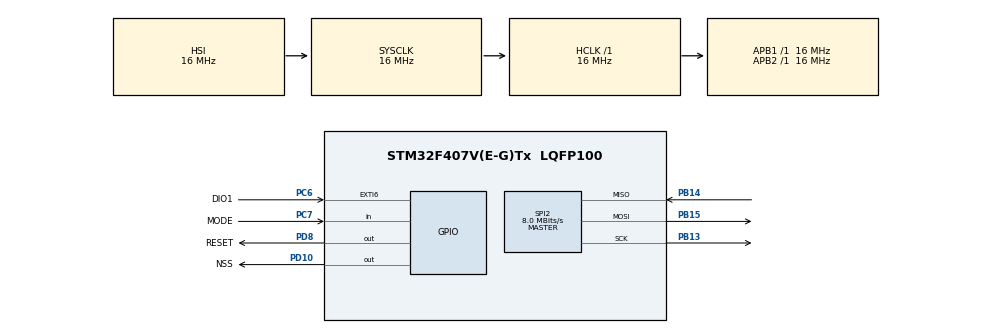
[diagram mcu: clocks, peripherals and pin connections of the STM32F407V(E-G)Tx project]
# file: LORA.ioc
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Mcu.Family=STM32F4
Mcu.Name=STM32F407V(E-G)Tx
Mcu.Package=LQFP100
NVIC.EXTI9_5_IRQn=true\:0\:0\:false\:false\:true\:true\:true\:true
NVIC.PriorityGroup=NVIC_PRIORITYGROUP_4
NVIC.SPI2_IRQn=true\:0\:0\:false\:false\:true\:true\:true\:true
PA13.Mode=Serial_Wire
PA13.Signal=SYS_JTMS-SWDIO
PA14.Mode=Serial_Wire
PA14.Signal=SYS_JTCK-SWCLK
PB13.Mode=Full_Duplex_Master
PB13.Signal=SPI2_SCK
PB14.Mode=Full_Duplex_Master
PB14.Signal=SPI2_MISO
PB15.Mode=Full_Duplex_Master
PB15.Signal=SPI2_MOSI
PC6.GPIO_Label=DIO1
PC6.GPIO_ModeDefaultEXTI=GPIO_MODE_IT_RISING
PC6.Signal=GPXTI6
PC7.GPIO_Label=MODE
PC7.Signal=GPIO_Input
PD10.GPIO_Label=NSS
PD10.Signal=GPIO_Output
PD8.GPIO_Label=RESET
PD8.Signal=GPIO_Output
ProjectManager.HeapSize=0x200
ProjectManager.StackSize=0x400
ProjectManager.TargetToolchain=STM32CubeIDE
RCC.AHBFreq_Value=16000000
RCC.APB1Freq_Value=16000000
RCC.APB2Freq_Value=16000000
RCC.CortexFreq_Value=16000000
RCC.HSE_VALUE=25000000
RCC.HSI_VALUE=16000000
RCC.LSE_VALUE=32768
RCC.SYSCLKFreq_VALUE=16000000
RCC.VCOOutputFreq_Value=192000000
SPI2.CalculateBaudRate=8.0 MBits/s
SPI2.Direction=SPI_DIRECTION_2LINES
SPI2.Mode=SPI_MODE_MASTER
SPI2.VirtualType=VM_MASTER
board=custom

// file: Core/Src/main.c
/* USER CODE BEGIN Header */
/**
  ******************************************************************************
  * @file           : main.c
  * @brief          : Main program body
  ******************************************************************************
  * @attention
  *
  * Copyright (c) 2024 STMicroelectronics.
  * All rights reserved.
  *
  * This software is licensed under terms that can be found in the LICENSE file
  * in the root directory of this software component.
  * If no LICENSE file comes with this software, it is provided AS-IS.
  *
  ******************************************************************************
  */
/* USER CODE END Header */
#include "main.h"

/* USER CODE BEGIN Includes */
#include "stdio.h"
#include "string.h"
#include "stdlib.h"

#include "lora.h"

#include "rfm95.h"

#include "handle.h"
/* USER CODE END Includes */

SPI_HandleTypeDef hspi2;

/* USER CODE BEGIN PV */
RFM95_HandleTypeDef rfm95w = { 0 };

LORA_HandleTypeDef *lora;

uint8_t irqLoRaFlag = 0;
char id[15] = {0};
char master[15] = {0};
/* USER CODE END PV */

void SystemClock_Config(void);
static void MX_GPIO_Init(void);
static void MX_SPI2_Init(void);
/* USER CODE BEGIN PFP */
//void HAL_GPIO_EXTI_Callback(uint16_t GPIO_Pin) {
//	/* Wake up MCU from stop mode by any EXTI line */
//	if (GPIO_Pin == rfm95w.dio1) {
//		/* Set flag to read LoRa message */
//		irqLoRaFlag = 1;
//	}
//}
/* USER CODE END PFP */

/* USER CODE BEGIN 0 */

void LORA_begin() {
	lora = (LORA_HandleTypeDef*) &rfm95w;

	rfm95w.resetPort = RESET_GPIO_Port;
	rfm95w.resetPin = RESET_Pin;
	rfm95w.nssPort = NSS_GPIO_Port;
	rfm95w.nssPin = NSS_Pin;
	rfm95w.dio1Port = DIO1_GPIO_Port;
	rfm95w.dio1 = DIO1_Pin;
	rfm95w.hspi = &hspi2;

	rfm95w.parent.init = (loraInit) &RFM95_init;
	rfm95w.parent.transmit = (loraTransmit) &RFM95_transmit;
	rfm95w.parent.receive = (loraReceive) &RFM95_receiveContinuous;
	rfm95w.parent.startReceiveIT =
			(loraStartReceiveOnIRQ) &RFM95_startReceiveIT;
	rfm95w.parent.receiveIT = (loraReceiveOnIRQ) &RFM95_receiveIT;

	if (LORA_init(lora) == THT_OK) {
		printf("LORA OK");
	} else {
		printf("LORA ERROR");
	}
}

uint8_t CTL_CRC8XOR(const uint8_t *array, size_t size) {
	uint8_t value = 0;
	for (size_t i = 0; i < size; i++) {
		value ^= array[i];
	}
	return value;
}

void loraHandle() {
	enum {
		LORA_RESPONSE_SIZE = 4
	};
	uint8_t msgResLoRa[LORA_RESPONSE_SIZE] = { 0 };
	uint8_t messLora[4] = { 4,5,6,7 };

//	char id[CFG_DEVICE_ID_SIZE] = { 0 };
//	char master[CFG_DEVICE_ID_SIZE] = { 0 };
//
//	for (size_t i = 0; i < CFG_DEVICE_ID_SIZE - 1; i++) {
//		id[i] = *(volatile uint8_t*) (CFG_EEPROM_DEVICE_ID + i);
//	}
//
//	for (size_t i = 0; i < CFG_MASTER_ID_SIZE - 1; i++) {
//		master[i] = *(volatile uint8_t*) (CFG_EEPROM_MASTER_ID + i);
//	}

	messLora[0] = CTL_CRC8XOR((uint8_t*) id, strlen(id));
	messLora[1] = CTL_CRC8XOR((uint8_t*) master, strlen(master));
	messLora[2] = 0x01;
	messLora[3] = CTL_CRC8XOR(messLora, 3);

	LORA_receiveIT(lora, messLora,4);
	uint16_t timeStap = HAL_GetTick();
	while (HAL_GetTick() - timeStap < 60000) {
		if (irqLoRaFlag) {
			irqLoRaFlag = 0;
			LORA_receiveIT(lora, msgResLoRa, LORA_RESPONSE_SIZE);
//			if (msgResLoRa[0] == messLora[0] && msgResLoRa[1] == messLora[1]
//					&& msgResLoRa[3] == messLora[3]) {
//				LORA_transmit(lora, messLora, 4, 1000);
//			}
			break;
		}
	}
}
/* USER CODE END 0 */

int main(void)
{

  /* MCU Configuration--------------------------------------------------------*/

  /* Reset of all peripherals, Initializes the Flash interface and the Systick. */
  HAL_Init();

  /* Configure the system clock */
  SystemClock_Config();

  /* Initialize all configured peripherals */
  MX_GPIO_Init();
  MX_SPI2_Init();
  /* USER CODE BEGIN 2 */
  LORA_begin();

  /* USER CODE END 2 */

  /* Infinite loop */
  /* USER CODE BEGIN WHILE */
  while (1)
  {
	  loraHandle();

    /* USER CODE END WHILE */

  }
}

void SystemClock_Config(void)
{
  RCC_OscInitTypeDef RCC_OscInitStruct = {0};
  RCC_ClkInitTypeDef RCC_ClkInitStruct = {0};

  /** Configure the main internal regulator output voltage
  */
  __HAL_RCC_PWR_CLK_ENABLE();
  __HAL_PWR_VOLTAGESCALING_CONFIG(PWR_REGULATOR_VOLTAGE_SCALE1);

  /** Initializes the RCC Oscillators according to the specified parameters
  * in the RCC_OscInitTypeDef structure.
  */
  RCC_OscInitStruct.OscillatorType = RCC_OSCILLATORTYPE_HSI;
  RCC_OscInitStruct.HSIState = RCC_HSI_ON;
  RCC_OscInitStruct.HSICalibrationValue = RCC_HSICALIBRATION_DEFAULT;
  RCC_OscInitStruct.PLL.PLLState = RCC_PLL_NONE;
  if (HAL_RCC_OscConfig(&RCC_OscInitStruct) != HAL_OK)
  {
    Error_Handler();
  }

  /** Initializes the CPU, AHB and APB buses clocks
  */
  RCC_ClkInitStruct.ClockType = RCC_CLOCKTYPE_HCLK|RCC_CLOCKTYPE_SYSCLK
                              |RCC_CLOCKTYPE_PCLK1|RCC_CLOCKTYPE_PCLK2;
  RCC_ClkInitStruct.SYSCLKSource = RCC_SYSCLKSOURCE_HSI;
  RCC_ClkInitStruct.AHBCLKDivider = RCC_SYSCLK_DIV1;
  RCC_ClkInitStruct.APB1CLKDivider = RCC_HCLK_DIV1;
  RCC_ClkInitStruct.APB2CLKDivider = RCC_HCLK_DIV1;

  if (HAL_RCC_ClockConfig(&RCC_ClkInitStruct, FLASH_LATENCY_0) != HAL_OK)
  {
    Error_Handler();
  }
}

static void MX_SPI2_Init(void)
{

  /* SPI2 parameter configuration*/
  hspi2.Instance = SPI2;
  hspi2.Init.Mode = SPI_MODE_MASTER;
  hspi2.Init.Direction = SPI_DIRECTION_2LINES;
  hspi2.Init.DataSize = SPI_DATASIZE_8BIT;
  hspi2.Init.CLKPolarity = SPI_POLARITY_LOW;
  hspi2.Init.CLKPhase = SPI_PHASE_1EDGE;
  hspi2.Init.NSS = SPI_NSS_SOFT;
  hspi2.Init.BaudRatePrescaler = SPI_BAUDRATEPRESCALER_2;
  hspi2.Init.FirstBit = SPI_FIRSTBIT_MSB;
  hspi2.Init.TIMode = SPI_TIMODE_DISABLE;
  hspi2.Init.CRCCalculation = SPI_CRCCALCULATION_DISABLE;
  hspi2.Init.CRCPolynomial = 10;
  if (HAL_SPI_Init(&hspi2) != HAL_OK)
  {
    Error_Handler();
  }

}

static void MX_GPIO_Init(void)
{
  GPIO_InitTypeDef GPIO_InitStruct = {0};

  /* GPIO Ports Clock Enable */
  __HAL_RCC_GPIOB_CLK_ENABLE();
  __HAL_RCC_GPIOD_CLK_ENABLE();
  __HAL_RCC_GPIOC_CLK_ENABLE();
  __HAL_RCC_GPIOA_CLK_ENABLE();

  /*Configure GPIO pin Output Level */
  HAL_GPIO_WritePin(GPIOD, RESET_Pin|NSS_Pin, GPIO_PIN_RESET);

  /*Configure GPIO pins : RESET_Pin NSS_Pin */
  GPIO_InitStruct.Pin = RESET_Pin|NSS_Pin;
  GPIO_InitStruct.Mode = GPIO_MODE_OUTPUT_PP;
  GPIO_InitStruct.Pull = GPIO_NOPULL;
  GPIO_InitStruct.Speed = GPIO_SPEED_FREQ_LOW;
  HAL_GPIO_Init(GPIOD, &GPIO_InitStruct);

  /*Configure GPIO pin : DIO1_Pin */
  GPIO_InitStruct.Pin = DIO1_Pin;
  GPIO_InitStruct.Mode = GPIO_MODE_IT_RISING;
  GPIO_InitStruct.Pull = GPIO_NOPULL;
  HAL_GPIO_Init(DIO1_GPIO_Port, &GPIO_InitStruct);

  /*Configure GPIO pin : MODE_Pin */
  GPIO_InitStruct.Pin = MODE_Pin;
  GPIO_InitStruct.Mode = GPIO_MODE_INPUT;
  GPIO_InitStruct.Pull = GPIO_NOPULL;
  HAL_GPIO_Init(MODE_GPIO_Port, &GPIO_InitStruct);

  /* EXTI interrupt init*/
  HAL_NVIC_SetPriority(EXTI9_5_IRQn, 0, 0);
  HAL_NVIC_EnableIRQ(EXTI9_5_IRQn);

}

/* USER CODE BEGIN 4 */
void HAL_GPIO_EXTI_Callback(uint16_t GPIO_Pin) {
	    	/* Wake up MCU from stop mode by any EXTI line */
	    	if (GPIO_Pin == DIO1_Pin) {
	    		/* Set flag to read LoRa message */
	    		irqLoRaFlag = 1;
	    	}
	    }
/* USER CODE END 4 */

void Error_Handler(void)
{
  __disable_irq();
  while (1)
  {
  }
}
